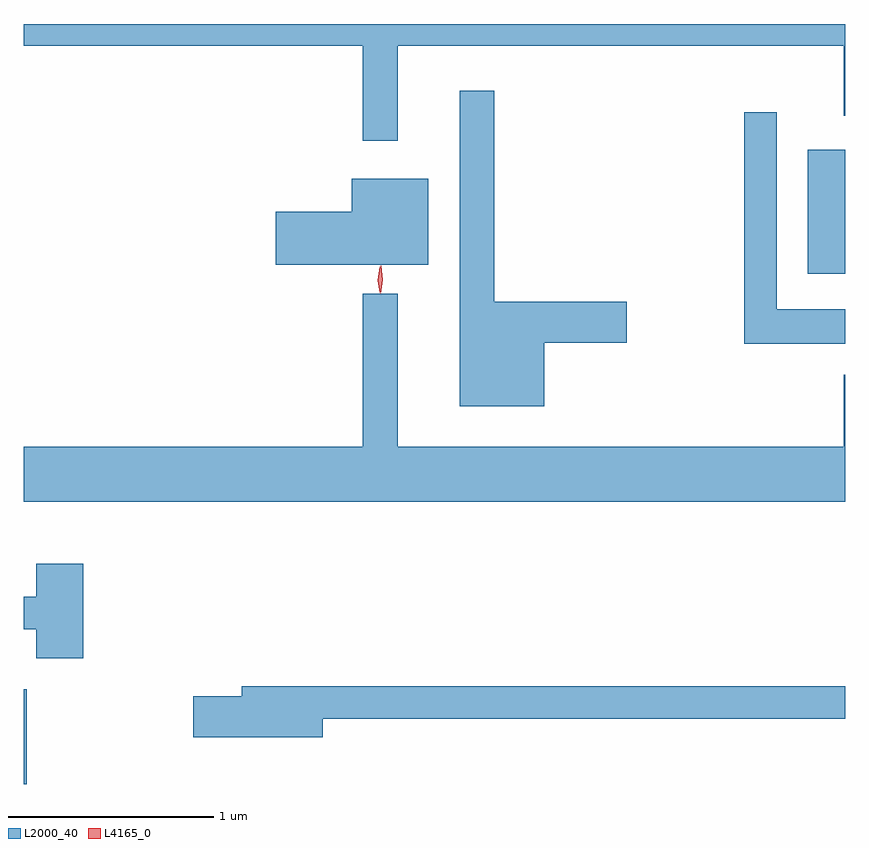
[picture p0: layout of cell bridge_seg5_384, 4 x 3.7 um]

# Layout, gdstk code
import gdstk
lib = gdstk.Library(unit=1e-6, precision=1e-09)
def R(c, l, rs):  # rectangles x0, y0, x1, y1
    for r in rs: c.add(gdstk.rectangle(r[:2], r[2:], *l))
def P(c, l, *ps):  # polygons
    for p in ps: c.add(gdstk.Polygon(p, *l))
L2000_40 = (2000, 40)
L4165_0 = (4165, 0)

bridge_seg5_384 = lib.new_cell('bridge_seg5_384')
R(bridge_seg5_384, L2000_40, [(478.619,1526.463,478.634,1526.924), (482.436,1528.946,482.619,1529.549)])
P(bridge_seg5_384, L2000_40, [(480.439,1530.056),(482.611,1530.056),(482.611,1529.716),(482.619,1529.716),(482.619,1530.162),(478.619,1530.162),(478.619,1530.056),(480.271,1530.056),(480.271,1529.593),(480.439,1529.593)],
  [(481.154,1528.611),(481.554,1528.611),(481.554,1528.809),(480.909,1528.809),(480.909,1529.838),(480.741,1529.838),(480.741,1528.301),(481.154,1528.301)],
  [(482.619,1528.774),(482.284,1528.774),(482.284,1529.733),(482.126,1529.733),(482.126,1528.606),(482.619,1528.606)],
  [(480.589,1529.409),(480.216,1529.409),(480.216,1529.249),(479.846,1529.249),(479.846,1528.991),(480.589,1528.991)],
  [(482.619,1528.454),(482.611,1528.454),(482.611,1528.104),(480.439,1528.104),(480.439,1528.848),(480.271,1528.848),(480.271,1528.104),(478.619,1528.104),(478.619,1527.836),(482.619,1527.836)],
  [(478.909,1527.534),(478.681,1527.534),(478.681,1527.374),(478.619,1527.374),(478.619,1527.216),(478.681,1527.216),(478.681,1527.076),(478.909,1527.076)],
  [(480.074,1526.781),(482.619,1526.781),(482.619,1526.939),(479.681,1526.939),(479.681,1526.889),(479.446,1526.889),(479.446,1526.691),(480.074,1526.691)])
P(bridge_seg5_384, L4165_0, [(480.352,1528.853),(480.352,1528.853),(480.342,1528.916),(480.352,1528.98),(480.352,1528.98),(480.353,1528.98),(480.362,1528.916),(480.353,1528.853)],
  [(480.357,1528.85),(480.357,1528.85),(480.348,1528.918),(480.358,1528.985),(480.359,1528.986),(480.359,1528.985),(480.368,1528.918),(480.358,1528.85)])

lib.write_gds('bridge_seg5_384.gds')
